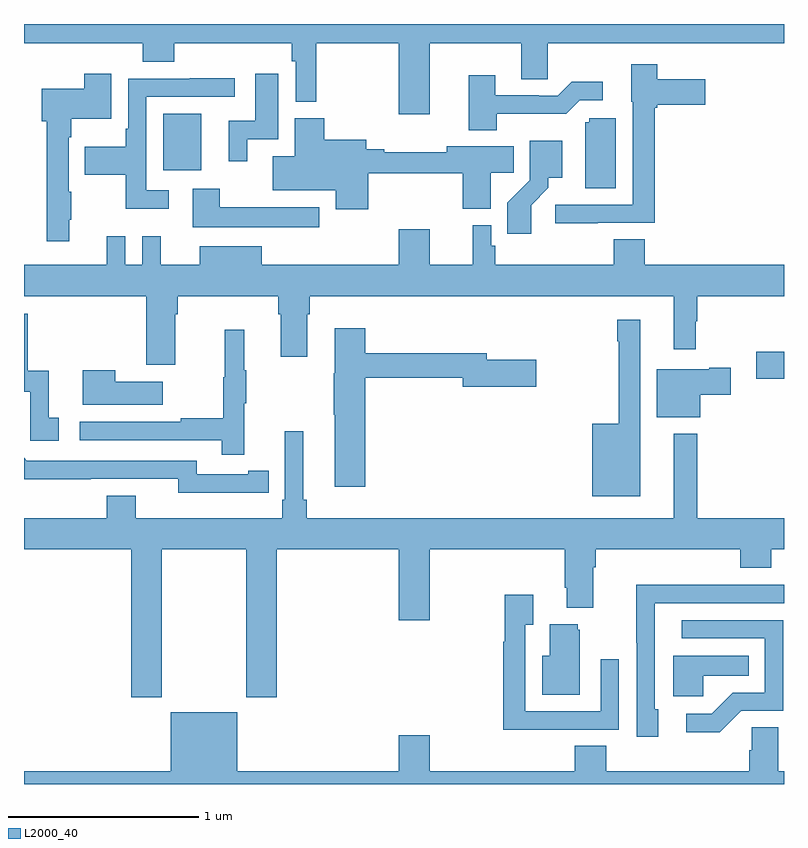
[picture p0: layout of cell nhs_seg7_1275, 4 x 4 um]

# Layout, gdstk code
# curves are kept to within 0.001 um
import gdstk
lib = gdstk.Library(unit=1e-6, precision=1e-09)
def R(c, l, rs):  # rectangles x0, y0, x1, y1
    for r in rs: c.add(gdstk.rectangle(r[:2], r[2:], *l))
def P(c, l, *ps):  # polygons
    for p in ps: c.add(gdstk.Polygon(p, *l))
L2000_40 = (2000, 40)

nhs_seg7_1275 = lib.new_cell('nhs_seg7_1275')
R(nhs_seg7_1275, L2000_40, [(202.854,1048.133,203,1048.275), (199.733,1049.231,199.933,1049.527)])
P(nhs_seg7_1275, L2000_40, [(201.136,1049.9),(201.617,1049.9),(201.617,1049.71),(201.756,1049.71),(201.756,1049.9),(203,1049.9),(203,1050),(199,1050),(199,1049.9),(199.625,1049.9),(199.625,1049.801),(199.79,1049.801),(199.79,1049.9),(200.41,1049.9),(200.41,1049.804),(200.43,1049.804),(200.43,1049.592),(200.539,1049.592),(200.539,1049.9),(200.972,1049.9),(200.972,1049.526),(201.136,1049.526)],
  [(202.019,1048.953),(202.319,1048.953),(202.319,1049.558),(202.332,1049.558),(202.332,1049.576),(202.585,1049.576),(202.585,1049.71),(202.332,1049.71),(202.332,1049.788),(202.196,1049.788),(202.196,1049.592),(202.203,1049.592),(202.203,1049.049),(201.795,1049.049),(201.795,1048.951),(202.019,1048.951)],
  [(200.176,1049.394),(200.338,1049.394),(200.338,1049.737),(200.216,1049.737),(200.216,1049.49),(200.078,1049.49),(200.078,1049.277),(200.176,1049.277)],
  [(199.238,1048.969),(199.249,1048.969),(199.249,1049.117),(199.236,1049.117),(199.236,1049.405),(199.249,1049.405),(199.249,1049.501),(199.459,1049.501),(199.459,1049.737),(199.316,1049.737),(199.316,1049.659),(199.094,1049.659),(199.094,1049.489),(199.12,1049.489),(199.12,1048.857),(199.238,1048.857)],
  [(201.489,1049.528),(201.853,1049.528),(201.924,1049.598),(202.045,1049.598),(202.045,1049.695),(201.883,1049.695),(201.81,1049.622),(201.71,1049.622),(201.71,1049.625),(201.481,1049.625),(201.481,1049.731),(201.341,1049.731),(201.341,1049.441),(201.489,1049.441)],
  [(199.762,1049.124),(199.644,1049.124),(199.644,1049.616),(200.11,1049.616),(200.11,1049.714),(199.873,1049.714),(199.873,1049.712),(199.548,1049.712),(199.548,1049.449),(199.536,1049.449),(199.536,1049.353),(199.321,1049.353),(199.321,1049.206),(199.536,1049.206),(199.536,1049.027),(199.762,1049.027)],
  [(202.114,1049.505),(201.975,1049.505),(201.975,1049.484),(201.953,1049.484),(201.953,1049.136),(202.114,1049.136)],
  [(200.813,1049.214),(201.308,1049.214),(201.308,1049.027),(201.457,1049.027),(201.457,1049.218),(201.578,1049.218),(201.578,1049.356),(201.224,1049.356),(201.224,1049.324),(200.896,1049.324),(200.896,1049.342),(200.8,1049.342),(200.8,1049.39),(200.579,1049.39),(200.579,1049.503),(200.426,1049.503),(200.426,1049.305),(200.309,1049.305),(200.309,1049.126),(200.642,1049.126),(200.642,1049.025),(200.813,1049.025)],
  [(201.67,1049.047),(201.76,1049.137),(201.76,1049.192),(201.832,1049.192),(201.832,1049.386),(201.663,1049.386),(201.663,1049.177),(201.544,1049.058),(201.544,1048.896),(201.67,1048.896)],
  [(200.554,1049.035),(200.029,1049.035),(200.029,1049.134),(199.889,1049.134),(199.889,1048.931),(200.554,1048.931)],
  [(201.361,1048.942),(201.361,1048.732),(201.136,1048.732),(201.136,1048.921),(200.972,1048.921),(200.972,1048.732),(200.251,1048.732),(200.251,1048.831),(199.925,1048.831),(199.925,1048.732),(199.721,1048.732),(199.721,1048.882),(199.623,1048.882),(199.623,1048.732),(199.533,1048.732),(199.533,1048.882),(199.436,1048.882),(199.436,1048.732),(199,1048.732),(199,1048.568),(199.643,1048.568),(199.643,1048.206),(199.795,1048.206),(199.795,1048.472),(199.808,1048.472),(199.808,1048.568),(200.339,1048.568),(200.339,1048.472),(200.351,1048.472),(200.351,1048.248),(200.491,1048.248),(200.491,1048.472),(200.504,1048.472),(200.504,1048.568),(202.421,1048.568),(202.421,1048.287),(202.535,1048.287),(202.535,1048.436),(202.543,1048.436),(202.543,1048.568),(203,1048.568),(203,1048.732),(202.268,1048.732),(202.268,1048.868),(202.103,1048.868),(202.103,1048.732),(201.479,1048.732),(201.479,1048.833),(201.459,1048.833),(201.459,1048.942)],
  [(199.183,1047.927),(199.13,1047.927),(199.13,1048.174),(199.019,1048.174),(199.019,1048.476),(199,1048.476),(199,1048.065),(199.032,1048.065),(199.032,1047.807),(199.183,1047.807)],
  [(202.243,1048.444),(202.122,1048.444),(202.122,1048.331),(202.129,1048.331),(202.129,1047.895),(201.992,1047.895),(201.992,1047.515),(202.243,1047.515)],
  [(200.795,1048.138),(201.308,1048.138),(201.308,1048.091),(201.697,1048.091),(201.697,1048.233),(201.436,1048.233),(201.436,1048.267),(200.795,1048.267),(200.795,1048.399),(200.636,1048.399),(200.636,1048.161),(200.629,1048.161),(200.629,1047.943),(200.636,1047.943),(200.636,1047.564),(200.795,1047.564)],
  [(200.159,1048.003),(200.17,1048.003),(200.17,1048.177),(200.159,1048.177),(200.159,1048.39),(200.056,1048.39),(200.056,1048.14),(200.049,1048.14),(200.049,1047.926),(199.825,1047.926),(199.825,1047.906),(199.293,1047.906),(199.293,1047.81),(200.041,1047.81),(200.041,1047.732),(200.159,1047.732)],
  [(202.558,1048.049),(202.72,1048.049),(202.72,1048.191),(202.607,1048.191),(202.607,1048.183),(202.331,1048.183),(202.331,1047.929),(202.558,1047.929)],
  [(199.729,1048.117),(199.481,1048.117),(199.481,1048.177),(199.31,1048.177),(199.31,1047.995),(199.729,1047.995)],
  [(199.725,1047.236),(200.17,1047.236),(200.17,1046.457),(200.33,1046.457),(200.33,1047.236),(200.972,1047.236),(200.972,1046.862),(201.136,1046.862),(201.136,1047.236),(201.845,1047.236),(201.845,1047.034),(201.857,1047.034),(201.857,1046.927),(201.997,1046.927),(201.997,1047.14),(202.01,1047.14),(202.01,1047.236),(202.769,1047.236),(202.769,1047.137),(202.934,1047.137),(202.934,1047.236),(203,1047.236),(203,1047.4),(202.543,1047.4),(202.543,1047.844),(202.421,1047.844),(202.421,1047.4),(200.489,1047.4),(200.489,1047.496),(200.47,1047.496),(200.47,1047.856),(200.373,1047.856),(200.373,1047.496),(200.36,1047.496),(200.36,1047.4),(199.588,1047.4),(199.588,1047.517),(199.436,1047.517),(199.436,1047.4),(199,1047.4),(199,1047.236),(199.565,1047.236),(199.565,1046.457),(199.725,1046.457)],
  [(200.18,1047.534),(200.288,1047.534),(200.288,1047.65),(200.18,1047.65),(200.18,1047.63),(199.908,1047.63),(199.908,1047.702),(199.014,1047.702),(199,1047.716),(199,1047.605),(199.812,1047.606),(199.812,1047.533)],
  [(202.339,1046.394),(202.32,1046.394),(202.32,1046.698),(202.321,1046.698),(202.321,1046.952),(203,1046.952),(203,1047.048),(202.685,1047.048),(202.685,1047.05),(202.222,1047.05),(202.222,1046.743),(202.224,1046.743),(202.224,1046.25),(202.339,1046.25)],
  [(201.815,1046.286),(202.131,1046.286),(202.131,1046.656),(202.035,1046.656),(202.035,1046.382),(201.639,1046.382),(201.639,1046.839),(201.679,1046.839),(201.679,1046.995),(201.531,1046.995),(201.531,1046.75),(201.523,1046.75),(201.523,1046.285),(201.815,1046.285)],
  [(202.776,1046.385),(202.995,1046.385),(202.995,1046.862),(202.461,1046.862),(202.461,1046.766),(202.899,1046.766),(202.899,1046.481),(202.73,1046.481),(202.619,1046.37),(202.485,1046.37),(202.485,1046.273),(202.663,1046.273)],
  [(201.925,1046.811),(201.914,1046.811),(201.914,1046.842),(201.767,1046.842),(201.767,1046.674),(201.728,1046.674),(201.728,1046.471),(201.925,1046.471)],
  [(202.575,1046.57),(202.814,1046.57),(202.814,1046.674),(202.418,1046.674),(202.418,1046.462),(202.575,1046.462)],
  [(203,1046.068),(202.969,1046.068),(202.969,1046.3),(202.83,1046.3),(202.83,1046.177),(202.817,1046.177),(202.817,1046.068),(202.064,1046.068),(202.064,1046.201),(201.899,1046.201),(201.899,1046.068),(201.136,1046.068),(201.136,1046.257),(200.972,1046.257),(200.972,1046.068),(200.122,1046.068),(200.122,1046.377),(199.772,1046.377),(199.772,1046.068),(199,1046.068),(199,1046),(203,1046)])

lib.write_gds('nhs_seg7_1275.gds')
